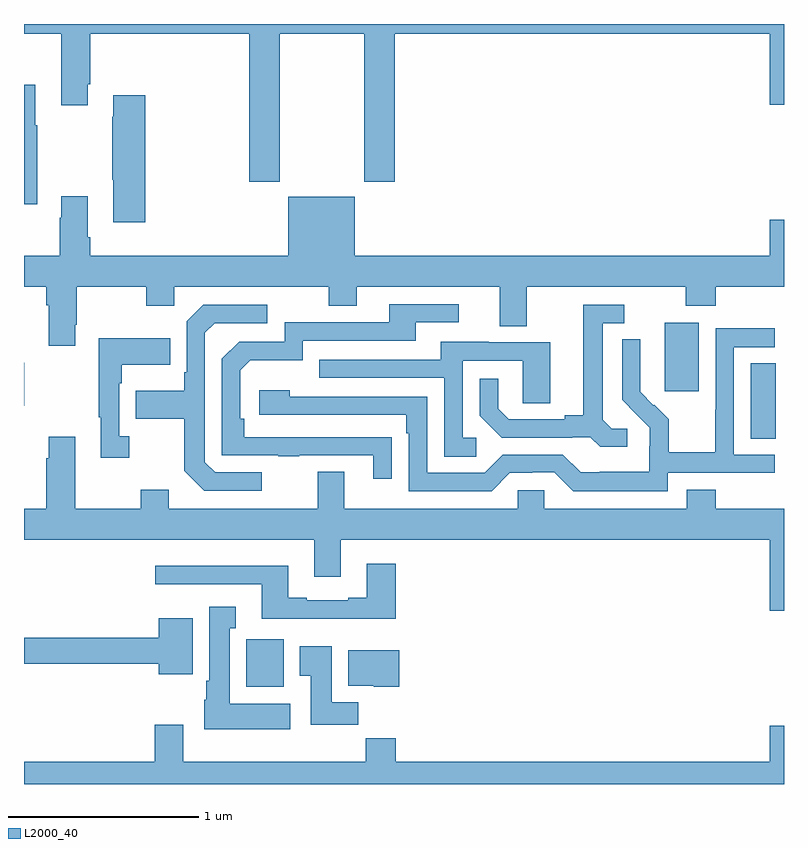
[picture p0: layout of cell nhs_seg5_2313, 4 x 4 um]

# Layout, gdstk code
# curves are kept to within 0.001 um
import gdstk
lib = gdstk.Library(unit=1e-6, precision=1e-09)
def R(c, l, rs):  # rectangles x0, y0, x1, y1
    for r in rs: c.add(gdstk.rectangle(r[:2], r[2:], *l))
def P(c, l, *ps):  # polygons
    for p in ps: c.add(gdstk.Polygon(p, *l))
L2000_40 = (2000, 40)

nhs_seg5_2313 = lib.new_cell('nhs_seg5_2313')
R(nhs_seg5_2313, L2000_40, [(246.171,865.31,246.367,865.56), (248.825,866.617,248.956,867.014), (245,866.789,245.001,867.017), (248.372,866.865,248.551,867.226)])
P(nhs_seg5_2313, L2000_40, [(246.345,868.748),(246.79,868.748),(246.79,867.969),(246.95,867.969),(246.95,868.748),(248.924,868.748),(248.924,868.374),(249,868.374),(249,868.799),(245,868.799),(245,868.748),(245.195,868.748),(245.195,868.371),(245.335,868.371),(245.335,868.483),(245.348,868.483),(245.348,868.748),(246.185,868.748),(246.185,867.969),(246.345,867.969)],
  [(245.071,868.267),(245.059,868.267),(245.059,868.48),(245,868.48),(245,867.851),(245.071,867.851)],
  [(245.639,868.423),(245.471,868.423),(245.471,868.31),(245.464,868.31),(245.464,867.979),(245.471,867.979),(245.471,867.756),(245.639,867.756)],
  [(245.269,867.217),(245.277,867.217),(245.277,867.416),(245.644,867.416),(245.644,867.317),(245.79,867.317),(245.79,867.416),(246.604,867.416),(246.604,867.317),(246.751,867.317),(246.751,867.416),(247.505,867.416),(247.505,867.208),(247.645,867.208),(247.645,867.416),(248.482,867.416),(248.482,867.317),(248.642,867.317),(248.642,867.416),(249,867.416),(249,867.769),(248.924,867.769),(248.924,867.58),(246.742,867.58),(246.742,867.889),(246.392,867.889),(246.392,867.58),(245.348,867.58),(245.348,867.676),(245.335,867.676),(245.335,867.892),(245.195,867.892),(245.195,867.779),(245.188,867.779),(245.188,867.58),(245,867.58),(245,867.416),(245.117,867.416),(245.117,867.32),(245.129,867.32),(245.129,867.105),(245.269,867.105)],
  [(246.935,866.624),(246.158,866.625),(246.158,866.722),(246.138,866.722),(246.138,866.976),(246.191,867.029),(246.468,867.029),(246.468,867.132),(247.063,867.132),(247.063,867.228),(247.288,867.228),(247.288,867.324),(246.923,867.324),(246.923,867.228),(246.372,867.228),(246.372,867.126),(246.132,867.126),(246.042,867.036),(246.042,866.529),(246.337,866.529),(246.337,866.524),(246.449,866.524),(246.449,866.529),(246.839,866.529),(246.839,866.406),(246.935,866.406)],
  [(248.176,866.67),(248.094,866.67),(248.047,866.717),(248.047,867.225),(248.158,867.225),(248.158,867.321),(247.943,867.321),(247.943,866.741),(247.847,866.741),(247.847,866.718),(247.552,866.718),(247.495,866.775),(247.495,866.932),(247.398,866.932),(247.398,866.738),(247.514,866.622),(247.886,866.622),(247.886,866.625),(247.98,866.625),(248.032,866.573),(248.176,866.573)],
  [(246.25,866.439),(246.006,866.439),(245.952,866.493),(245.952,867.174),(246.003,867.225),(246.28,867.225),(246.28,867.321),(245.943,867.321),(245.856,867.234),(245.856,866.965),(245.844,866.965),(245.844,866.869),(245.587,866.869),(245.587,866.722),(245.844,866.722),(245.844,866.449),(245.949,866.343),(246.25,866.343)],
  [(248.388,866.436),(248.95,866.436),(248.95,866.532),(248.736,866.532),(248.736,867.099),(248.95,867.099),(248.95,867.198),(248.64,867.198),(248.64,866.768),(248.638,866.768),(248.638,866.545),(248.393,866.545),(248.393,866.719),(248.316,866.796),(248.313,866.793),(248.243,866.864),(248.244,867.14),(248.148,867.14),(248.148,866.822),(248.294,866.674),(248.294,866.577),(248.292,866.577),(248.292,866.443),(248.029,866.443),(248.029,866.439),(247.929,866.439),(247.836,866.532),(247.521,866.532),(247.425,866.436),(247.122,866.436),(247.122,866.838),(246.398,866.838),(246.398,866.872),(246.237,866.872),(246.237,866.742),(247.013,866.742),(247.013,866.645),(247.026,866.645),(247.026,866.34),(247.461,866.34),(247.557,866.436),(247.676,866.436),(247.676,866.439),(247.791,866.439),(247.891,866.339),(248.388,866.339)],
  [(245.554,866.63),(245.502,866.63),(245.502,866.909),(245.515,866.909),(245.515,867.005),(245.771,867.005),(245.771,867.145),(245.394,867.145),(245.394,866.729),(245.405,866.729),(245.405,866.517),(245.554,866.517)],
  [(247.381,866.622),(247.308,866.622),(247.308,867.027),(247.626,867.027),(247.626,866.803),(247.771,866.803),(247.771,867.123),(247.447,867.123),(247.447,867.127),(247.193,867.127),(247.193,867.033),(246.553,867.033),(246.553,866.937),(247.212,866.937),(247.212,866.521),(247.381,866.521)],
  [(249,866.248),(248.642,866.248),(248.642,866.347),(248.489,866.347),(248.489,866.248),(247.737,866.248),(247.737,866.346),(247.599,866.346),(247.599,866.248),(246.685,866.248),(246.685,866.443),(246.545,866.443),(246.545,866.248),(245.761,866.248),(245.761,866.347),(245.614,866.347),(245.614,866.248),(245.269,866.248),(245.269,866.626),(245.129,866.626),(245.129,866.513),(245.117,866.513),(245.117,866.248),(245,866.248),(245,866.084),(246.527,866.084),(246.527,865.89),(246.667,865.89),(246.667,866.084),(248.924,866.084),(248.924,865.71),(249,865.71)],
  [(246.956,865.957),(246.803,865.957),(246.803,865.78),(246.707,865.78),(246.707,865.767),(246.487,865.767),(246.487,865.78),(246.391,865.78),(246.391,865.948),(245.691,865.948),(245.691,865.851),(246.251,865.851),(246.251,865.67),(246.956,865.67)],
  [(246.4,865.222),(246.082,865.222),(246.082,865.619),(246.115,865.619),(246.115,865.732),(245.975,865.732),(245.975,865.342),(245.96,865.342),(245.96,865.242),(245.948,865.242),(245.948,865.088),(246.4,865.088)],
  [(245.887,865.672),(245.708,865.672),(245.708,865.568),(245,865.568),(245,865.432),(245.708,865.432),(245.708,865.376),(245.887,865.376)],
  [(246.758,865.228),(246.619,865.228),(246.619,865.525),(246.452,865.525),(246.452,865.369),(246.509,865.369),(246.509,865.11),(246.758,865.11)],
  [(246.976,865.504),(246.707,865.504),(246.707,865.316),(246.84,865.316),(246.84,865.31),(246.976,865.31)],
  [(249,865.105),(248.924,865.105),(248.924,864.916),(246.956,864.916),(246.956,865.04),(246.799,865.04),(246.799,864.916),(245.839,864.916),(245.839,865.111),(245.687,865.111),(245.687,864.916),(245,864.916),(245,864.799),(249,864.799)])

lib.write_gds('nhs_seg5_2313.gds')
